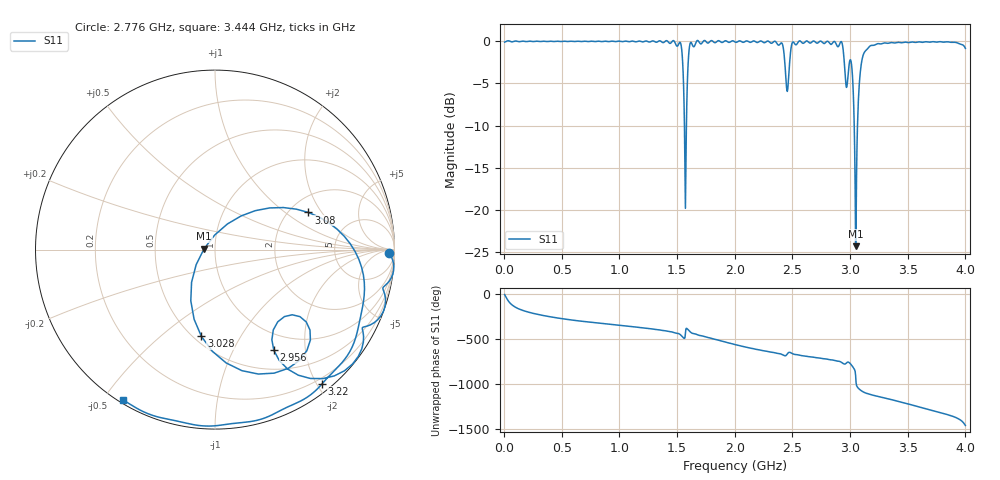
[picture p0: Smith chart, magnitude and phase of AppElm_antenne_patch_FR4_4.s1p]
! TOUCHSTONE file generated by CST MICROWAVE STUDIO
! Date and time: Tue Jun  7 21:57:01 2022
! Project name: AppElm_antenne_patch_FR4.cst
! Parameters = {L=45; W=58.5; e=0.035; h=1.6; lambda=0.190476; ls=108; w0=1.6; w1=0.533; ws=120; y0=20; y1=23.81}
! Header version: 2018
! Port assignment regex: !\s*Touchstone port\s*([0-9]+)\s*=\s*(CST MWS port|CST DS port)\s*([0-9]+|Zmin|Zmax)\s*\(\"(.*)\"\)(\s*mode\s*([0-9]+))?.*
! Touchstone port assignment:
! Touchstone port 1 = CST MWS port 1 ("")
# GHz S MA R 50
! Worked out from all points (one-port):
!   1000 points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, 4 MHz to 4 GHz, reference 50 ohm
!   lowest |S11| = -24.3 dB at 3.048 GHz (marker M1), VSWR 1.13, Z = 44.3 + j0.48 ohm
!   |S11| at or under -10 dB: 1.563 GHz to 1.581 GHz (17.23 MHz wide, 1.1 % of centre); 3.036 GHz to 3.064 GHz (28.25 MHz wide, 0.926 % of centre)
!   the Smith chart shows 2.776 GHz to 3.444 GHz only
!   S11 on the Smith chart (normalised r, x): 2.776 GHz: 51, -29; 2.956 GHz: 0.75, -1.46; 3.028 GHz: 0.55, -0.70; 3.08 GHz: 2.51, +1.51; 3.22 GHz: 0.12, -2.07; 3.444 GHz: 0.01, -0.56
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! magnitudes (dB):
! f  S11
! 4 MHz  -0.1
! 504 MHz  0.0
! 1.004 GHz  0.0
! 1.504 GHz  -0.6
! 1.536 GHz  -0.6
! 1.56 GHz  -7.4
! 1.572 GHz  -19.8
! 1.588 GHz  -5.3
! 1.604 GHz  -1.0
! 1.624 GHz  -0.2
! 2.004 GHz  -0.1
! 2.4 GHz  -0.2
! 2.456 GHz  -5.9
! 2.504 GHz  -0.1
! 2.776 GHz  -0.3
! 2.92 GHz  0.0
! 2.956 GHz  -3.7
! 3.004 GHz  -2.2
! 3.016 GHz  -3.2
! 3.028 GHz  -6.2
! 3.048 GHz  -24.3
! 3.064 GHz  -10.1
! 3.08 GHz  -5.0
! 3.12 GHz  -1.4
! 3.22 GHz  -0.4
! 3.444 GHz  -0.2
! 3.504 GHz  -0.1
! 4 GHz  -0.8
